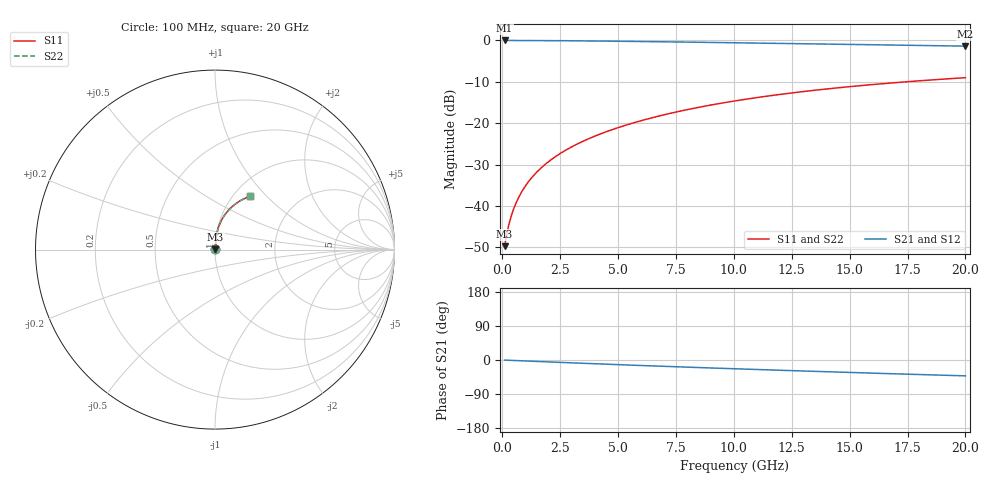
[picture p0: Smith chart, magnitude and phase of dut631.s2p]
! Touchstone file exported from HFSS 2024.1.0
!  File:  C:/UserFiles/LocalFiles/RDL_TSV_Batchsim/temp_RDL_top_631_1779780568.aedt
!  Generated:  03:31:28 PM May 26, 2026
!  Design:  RDL_top
!  Project:  temp_RDL_top_631_1779780568
!  Setup:  Setup1
!  Solution:  Sweep
! Variables:
!  dtsv = 10.80580581um
!  hbump = 3um
!  htsv = 76.72um
!  ldown = 100um
!  lrdl = 612.53um
!  p = 40
!  p1 = 47.66um
!  rhole = 1um
!  t = 450um
!  tdown = 3.915915916um
!  trdl = 4.02um
!  wdown = 15.38538539um
!  wrdl = 21.93um
# GHz S MA R 50.000000
! Terminal data exported
! Port[1] = Box2_T1
! Port[2] = Box2_T2
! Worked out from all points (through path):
!   200 points, 100 MHz to 20 GHz, reference 50 ohm
!   highest |S21| = -0.02 dB at 100 MHz (marker M1); lowest = -1.4 dB at 20 GHz (marker M2)
!   group delay of S21, straight-line fit = 5.76 ps
!   lowest |S11| = -49.7 dB at 100 MHz (marker M3), VSWR 1.01, Z = 50.3 + j0.192 ohm
!   |S11| at or under -10 dB: start of sweep to 17.46 GHz
!   |S22| runs from -49.7 to -9.0 dB; largest |S21 - S12| = 2.6e-15
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0.1  0.003265 35.8  0.9973 -0.3  0.9973 -0.3  0.003265 35.8
! Gamma 0 0 0 0
! Port Impedance 50 0 50 0
0.2  0.004664 53.0  0.9972 -0.5  0.9972 -0.5  0.004664 53.0
0.3  0.006208 61.5  0.997 -0.8  0.997 -0.8  0.006208 61.5
0.4  0.007775 66.6  0.9968 -1.0  0.9968 -1.0  0.007776 66.6
0.5  0.009354 70.1  0.9966 -1.3  0.9966 -1.3  0.009355 70.1
0.6  0.01095 72.6  0.9964 -1.5  0.9964 -1.5  0.01095 72.6
0.8  0.01418 76.2  0.9961 -2.0  0.9961 -2.0  0.01418 76.2
1.1  0.01911 79.3  0.9955 -2.8  0.9955 -2.8  0.01911 79.3
1.3  0.02244 80.7  0.995 -3.3  0.995 -3.3  0.02244 80.7
1.6  0.02749 82.0  0.9941 -4.1  0.9941 -4.1  0.02749 82.0
2.1  0.03603 83.3  0.9924 -5.3  0.9924 -5.3  0.03603 83.3
2.7  0.04646 84.1  0.9898 -6.8  0.9898 -6.8  0.04646 84.1
3.5  0.06068 84.3  0.9856 -8.7  0.9856 -8.7  0.06067 84.3
4.2  0.0734 84.1  0.9813 -10.4  0.9813 -10.4  0.0734 84.1
5  0.08826 83.5  0.9758 -12.3  0.9758 -12.3  0.08825 83.5
6.8  0.1226 81.3  0.9622 -16.3  0.9622 -16.3  0.1226 81.3
8.4  0.1537 78.8  0.9492 -19.8  0.9492 -19.8  0.1537 78.8
10.1  0.1866 75.7  0.935 -23.3  0.935 -23.3  0.1866 75.7
11.7  0.2169 72.6  0.9215 -26.5  0.9215 -26.5  0.2169 72.6
13.4  0.248 69.3  0.907 -29.8  0.907 -29.8  0.248 69.3
16.7  0.3042 62.9  0.8791 -36.0  0.8791 -36.0  0.3042 62.9
20  0.354 56.8  0.8517 -41.9  0.8517 -41.9  0.354 56.8
